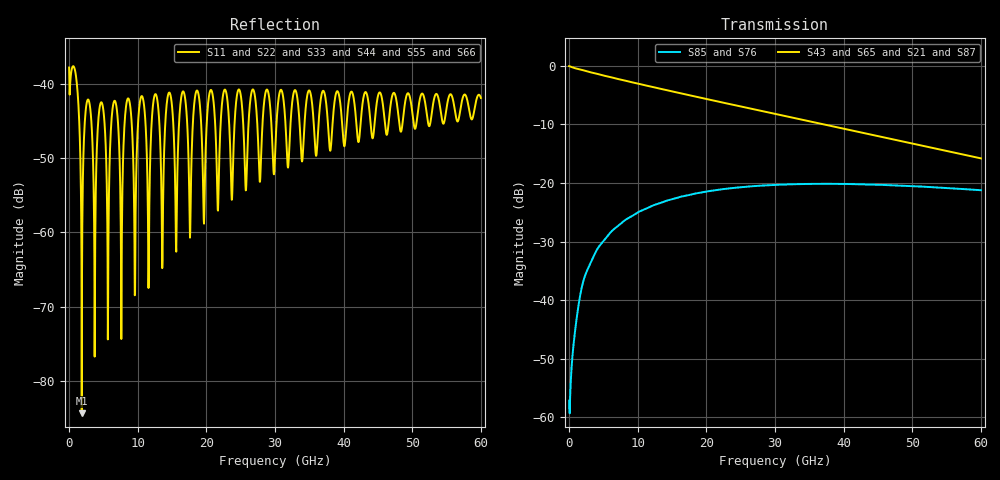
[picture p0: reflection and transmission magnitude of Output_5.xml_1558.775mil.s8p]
# Hz S ri R 50
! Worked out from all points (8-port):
!   1500 points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, 40 MHz to 60 GHz, reference 50 ohm
!   strongest paths, dB at 40 MHz, 15.04 GHz, 30.04 GHz, 45.04 GHz, 60 GHz:
!     S43: -0.1, -4.4, -8.2, -12.0, -15.8
!     S65: -0.1, -4.4, -8.2, -12.0, -15.8
!     S21: -0.1, -4.4, -8.2, -12.0, -15.8
!     S87: -0.1, -4.4, -8.2, -12.0, -15.8
!     S85: -57.1, -22.8, -20.3, -20.3, -21.2
!     S76: -57.1, -22.8, -20.3, -20.3, -21.2
!   lowest |S11| = -84.4 dB at 1.88 GHz (marker M1), VSWR 1.00, Z = 50 - j0.00352 ohm
!   |S11| at or under -10 dB: start of sweep to end of sweep
